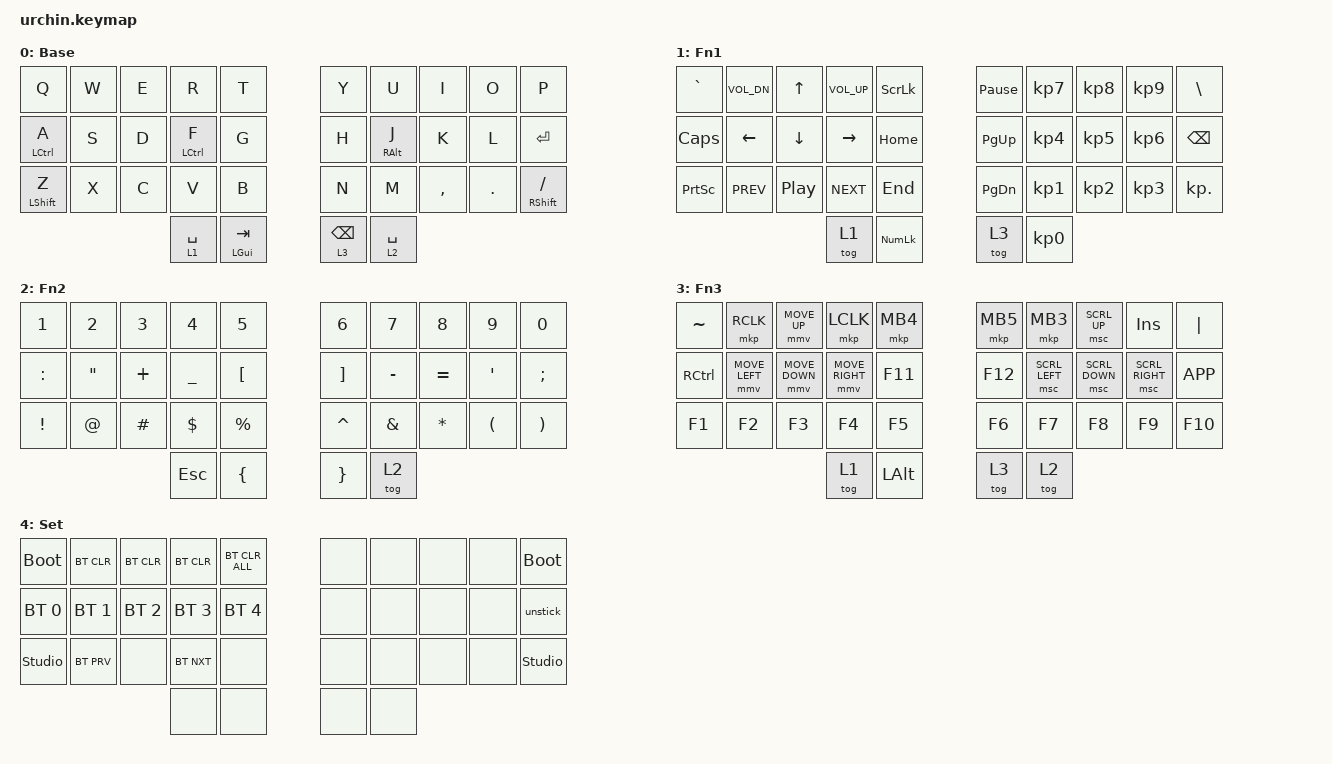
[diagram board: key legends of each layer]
/*
 * Copyright (c) 2020 The ZMK Contributors
 *
 * SPDX-License-Identifier: MIT
 */

#define ZMK_POINTING_DEFAULT_MOVE_VAL 600
#define ZMK_POINTING_DEFAULT_SCRL_VAL 10

#include <behaviors.dtsi>
#include <dt-bindings/zmk/bt.h>
#include <dt-bindings/zmk/keys.h>
#include <dt-bindings/zmk/pointing.h>

// Layer definitions
#define DEF 0
#define FN1 1
#define FN2 2
#define FN3 3
#define SET 4
// -----------------

&mt {
    flavor = "tap-preferred";
    tapping-term-ms = <200>;
};

&mmv {
    time-to-max-speed-ms = <40>;
    acceleration-exponent = <1>;
    delay-ms = <10>;
};

&sk {
	// don't release mods on other mods presses
	ignore-modifiers;
};


/ {
	macros {
		// sometimes my device thinks a modifier is being held down
		// pressing all modifiers fixes it.
		unstick: unstick {
			label = "ZM_unstick";
			compatible = "zmk,behavior-macro";
			#binding-cells = <0>;
			bindings = <&kp LSHIFT &kp RSHIFT &kp LCTRL &kp RCTRL &kp LALT &kp RALT &kp LGUI &kp RGUI>;
		};
	};

	combos {
		compatible = "zmk,combos";
		// both right thumb keys
		combo_settings_l {
			timeout-ms = <100>;
			key-positions = <30 31>;
			bindings = <&mo SET>;
		};
		combo_settings_r {
			timeout-ms = <100>;
			key-positions = <32 33>;
			bindings = <&mo SET>;
		};
		// internal-left & external-right thumb keys
		combo_esc {
			timeout-ms = <100>;
			key-positions = <0 10>;
			bindings = <&kp ESC>;
		};
		// both left thumb keys
		combo_del {
			timeout-ms = <100>;
			key-positions = <9 19>;
			bindings = <&kp DEL>;
		};
	};

	behaviors {
        hml: home_row_mod_left {
            compatible = "zmk,behavior-hold-tap";
            label = "HOMEROW_MODS_LEFT";
            #binding-cells = <2>;
            flavor = "balanced";
            tapping-term-ms = <280>;
            quick-tap-ms = <175>;
            bindings = <&kp>, <&kp>;

            hold-trigger-key-positions = <5 6 7 8 9 15 16 17 18 19 25 26 27 28 29 32 33>;
        };

        hmr: home_row_mod_right {
            compatible = "zmk,behavior-hold-tap";
            label = "HOMEROW_MODS_RIGHT";
            #binding-cells = <2>;
            flavor = "balanced";
            tapping-term-ms = <280>;
            quick-tap-ms = <175>;
            bindings = <&kp>, <&kp>;

            hold-trigger-key-positions = <0 1 2 3 4 10 11 12 13 14 20 21 22 23 24 30 31>;
        };

        td: tapdance {
            compatible = "zmk,behavior-hold-tap";
            label = "TAPDANCE";
            #binding-cells = <2>;
            tapping-term-ms = <150>;
            quick-tap-ms = <0>;
            flavor = "tap-preferred";
            bindings = <&kp>, <&kp>;
        };
    };

    keymap {
        compatible = "zmk,keymap";

        default_layer {
            display-name = "Base";
            bindings = <
&kp Q       &kp W &kp E &kp R       &kp T           &kp Y &kp U      &kp I     &kp O     &kp P
&mt LCTRL A &kp S &kp D &mt LCTRL F &kp G           &kp H &mt RALT J &kp K     &kp L     &kp ENTER
&mt LSHFT Z &kp X &kp C &kp V       &kp B           &kp N &kp M      &kp COMMA &kp DOT   &mt RSHFT SLASH
                        &lt 1 SPACE &mt LGUI TAB    &lt 3 BACKSPACE  &lt 2 SPACE
            >;
        };

        layer_fn1 {
            display-name = "Fn1";
            bindings = <
&kp GRAVE &kp C_VOL_DN &kp UP   &kp C_VOL_UP &kp SLCK          &kp PAUSE_BREAK &kp KP_N7 &kp KP_N8 &kp KP_N9 &kp BACKSLASH
&kp CAPS  &kp LEFT     &kp DOWN &kp RIGHT    &kp HOME          &kp PAGE_UP     &kp KP_N4 &kp KP_N5 &kp KP_N6 &kp BACKSPACE
&kp PSCRN &kp C_PREV   &kp C_PP &kp C_NEXT   &kp END           &kp PAGE_DOWN   &kp KP_N1 &kp KP_N2 &kp KP_N3 &kp KP_DOT
                                      &tog 1 &kp KP_NUMLOCK    &tog 3          &kp KP_N0
            >;
        };

        layer_fn2 {
            display-name = "Fn2";
            bindings = <
&kp N1    &kp N2  &kp NUMBER_3 &kp N4    &kp N5       &kp N6    &kp N7    &kp N8    &kp N9   &kp N0
&kp COLON &kp DQT &kp PLUS     &kp UNDER &kp LBKT     &kp RBKT  &kp MINUS &kp EQUAL &kp SQT  &kp SEMI
&kp EXCL  &kp AT  &kp HASH     &kp DLLR  &kp PRCNT    &kp CARET &kp AMPS  &kp STAR  &kp LPAR &kp RPAR
                               &kp ESC   &kp LBRC     &kp RBRC  &tog 2
            >;
        };

        layer_fn3 {
            display-name = "Fn3";
            bindings = <
&kp TILDE &mkp RCLK      &mmv MOVE_UP   &mkp LCLK       &mkp MB4      &mkp MB5 &mkp MB3       &msc SCRL_UP   &kp INS         &kp PIPE
&kp RCTRL &mmv MOVE_LEFT &mmv MOVE_DOWN &mmv MOVE_RIGHT &kp F11       &kp F12  &msc SCRL_LEFT &msc SCRL_DOWN &msc SCRL_RIGHT &kp K_APP
&kp F1    &kp F2         &kp F3         &kp F4          &kp F5        &kp F6   &kp F7         &kp F8         &kp F9          &kp F10
				                        &tog 1          &kp LALT      &tog 3   &tog 2
            >;
        };

		layer_settings {
			label = "Set";
            bindings = <
&bootloader    &bt BT_CLR   &bt BT_CLR   &bt BT_CLR   &bt BT_CLR_ALL    &none &none &none &none &bootloader
&bt BT_SEL 0   &bt BT_SEL 1 &bt BT_SEL 2 &bt BT_SEL 3 &bt BT_SEL 4      &none &none &none &none &unstick
&studio_unlock &bt BT_PRV   &none        &bt BT_NXT   &none             &none &none &none &none &studio_unlock
										 &none        &none             &none &none
            >;
        };
    };
};
